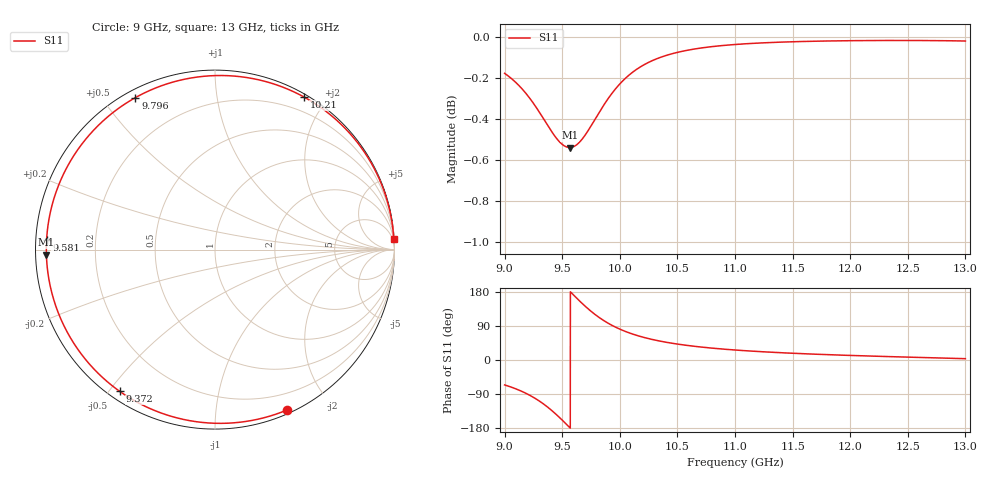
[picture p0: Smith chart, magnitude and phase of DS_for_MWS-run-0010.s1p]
! TOUCHSTONE file generated by CST DESIGN STUDIO
! Date and time: Tue Feb  4 14:16:07 2025
! Project name: C:\Work\MatlabApps\UnitCellOptimizationMatlab\CST\unitcell.cst
! Tree item: Tasks\Sweep1\SPara1\S-Parameters
! Header version: 2024
! Port assignment regex: !\s*Touchstone port\s*([0-9]+)\s*=\s*(CST MWS port|CST DES external port|CST DES block port)\s*(.+)\s* \(\"(.*)\"\)(\s*mode\s*([0-9]+))?.*
! Touchstone port assignment:
! Touchstone port 1 = CST DES external port 1 ("")
# GHz S MA R 50
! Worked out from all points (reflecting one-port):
!   4001 points, 9 GHz to 13 GHz, reference 50 ohm
!   lowest |S11| = -0.5 dB at 9.565 GHz (marker M1), VSWR 32.21, Z = 1.55 - j0.757 ohm
!   phase of S11 starts at -66 deg and turns -291 deg over the sweep
!   S11 on the Smith chart (normalised r, x): 9 GHz: 0.03, -1.55; 9.372 GHz: 0.03, -0.53; 9.581 GHz: 0.03, +0.03; 9.796 GHz: 0.03, +0.60; 10.21 GHz: 0.03, +1.74; 13 GHz: 1, +33
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9  0.9796 -65.8
9.044  0.9776 -70.1
9.111  0.9738 -77.8
9.225  0.9655 -94.2
9.303  0.9584 -108.6
9.372  0.9517 -123.9
9.435  0.9459 -140.1
9.5  0.9414 -158.6
9.533  0.9402 -168.5
9.565  0.9398 -178.3
9.581  0.9399 176.8
9.636  0.9418 160.1
9.696  0.9461 142.8
9.746  0.9508 129.6
9.796  0.9559 117.6
9.84  0.9603 108.2
9.887  0.9648 99.1
10  0.9738 81.5
10.098  0.9796 69.8
10.206  0.9842 59.8
10.341  0.9882 50.3
10.5  0.9912 42.0
10.721  0.9938 33.7
11  0.9956 26.4
11.5  0.9971 17.8
12  0.9977 12.0
12.5  0.9978 7.6
13  0.9975 3.5
